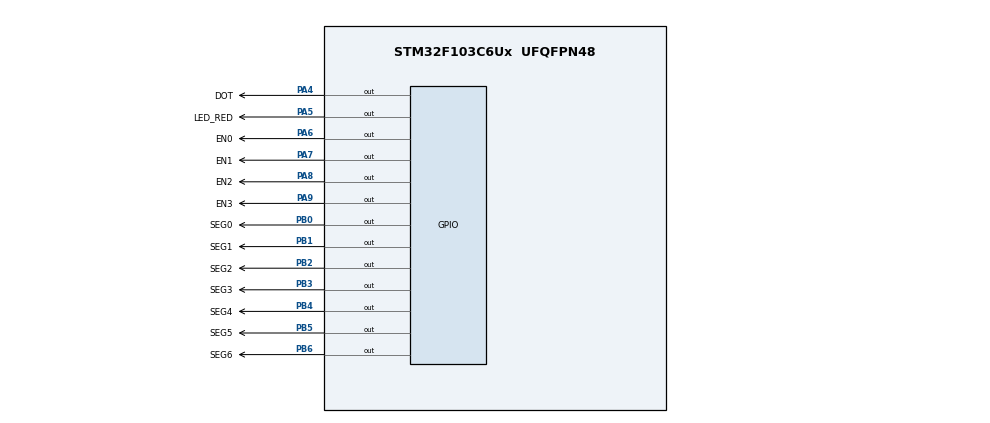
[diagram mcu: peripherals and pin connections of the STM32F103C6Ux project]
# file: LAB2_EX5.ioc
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Mcu.Family=STM32F1
Mcu.Name=STM32F103C6Ux
Mcu.Package=UFQFPN48
NVIC.PriorityGroup=NVIC_PRIORITYGROUP_4
NVIC.TIM2_IRQn=true\:0\:0\:false\:false\:true\:true\:true
PA4.GPIO_Label=DOT
PA4.Signal=GPIO_Output
PA5.GPIO_Label=LED_RED
PA5.Signal=GPIO_Output
PA6.GPIO_Label=EN0
PA6.Signal=GPIO_Output
PA7.GPIO_Label=EN1
PA7.Signal=GPIO_Output
PA8.GPIO_Label=EN2
PA8.Signal=GPIO_Output
PA9.GPIO_Label=EN3
PA9.Signal=GPIO_Output
PB0.GPIO_Label=SEG0
PB0.Signal=GPIO_Output
PB1.GPIO_Label=SEG1
PB1.Signal=GPIO_Output
PB2.GPIO_Label=SEG2
PB2.Signal=GPIO_Output
PB3.GPIO_Label=SEG3
PB3.Signal=GPIO_Output
PB4.GPIO_Label=SEG4
PB4.Signal=GPIO_Output
PB5.GPIO_Label=SEG5
PB5.Signal=GPIO_Output
PB6.GPIO_Label=SEG6
PB6.Signal=GPIO_Output
ProjectManager.HeapSize=0x200
ProjectManager.StackSize=0x400
ProjectManager.TargetToolchain=STM32CubeIDE
RCC.APB1Freq_Value=8000000
RCC.APB2Freq_Value=8000000
TIM2.Period=9
TIM2.Prescaler=7999
VP_SYS_VS_ND.Mode=No_Debug
VP_TIM2_VS_ClockSourceINT.Mode=Internal
board=custom

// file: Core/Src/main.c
/* USER CODE BEGIN Header */
/**
  ******************************************************************************
  * @file           : main.c
  * @brief          : Main program body
  ******************************************************************************
  * @attention
  *
  * <h2><center>&copy; Copyright (c) 2024 STMicroelectronics.
  * All rights reserved.</center></h2>
  *
  * This software component is licensed by ST under BSD 3-Clause license,
  * the "License"; You may not use this file except in compliance with the
  * License. You may obtain a copy of the License at:
  *                        opensource.org/licenses/BSD-3-Clause
  *
  ******************************************************************************
  */
/* USER CODE END Header */
#include "main.h"

/* USER CODE BEGIN Includes */
#include "Ex5.h"
/* USER CODE END Includes */

TIM_HandleTypeDef htim2;

void SystemClock_Config(void);
static void MX_GPIO_Init(void);
static void MX_TIM2_Init(void);

int main(void)
{

  /* MCU Configuration--------------------------------------------------------*/

  /* Reset of all peripherals, Initializes the Flash interface and the Systick. */
  HAL_Init();

  /* Configure the system clock */
  SystemClock_Config();

  /* Initialize all configured peripherals */
  MX_GPIO_Init();
  MX_TIM2_Init();
  /* USER CODE BEGIN 2 */
  HAL_TIM_Base_Start_IT (& htim2 );
  /* USER CODE END 2 */

  /* Infinite loop */
  /* USER CODE BEGIN WHILE */
  int hour = 15, minute = 8, second = 50;
  while (1)
  {
//	  HAL_GPIO_TogglePin(LED_RED_GPIO_Port, LED_RED_Pin);
    /* USER CODE END WHILE */

    /* USER CODE BEGIN 3 */
	  second++;
	  	  if (second >= 60) {
	  		  second = 0;
	  		  minute++;
	  	  }
	  	  if( minute >= 60) {
	  		  minute = 0;
	  		  hour++;
	  	  }
	  	  if( hour >=24){
	  		  hour = 0;
	  	  }
	  	  updateClockBuffer(hour, minute);

	  	  HAL_Delay(1000);
  	}
  /* USER CODE END 3 */
}

void SystemClock_Config(void)
{
  RCC_OscInitTypeDef RCC_OscInitStruct = {0};
  RCC_ClkInitTypeDef RCC_ClkInitStruct = {0};

  /** Initializes the RCC Oscillators according to the specified parameters
  * in the RCC_OscInitTypeDef structure.
  */
  RCC_OscInitStruct.OscillatorType = RCC_OSCILLATORTYPE_HSI;
  RCC_OscInitStruct.HSIState = RCC_HSI_ON;
  RCC_OscInitStruct.HSICalibrationValue = RCC_HSICALIBRATION_DEFAULT;
  RCC_OscInitStruct.PLL.PLLState = RCC_PLL_NONE;
  if (HAL_RCC_OscConfig(&RCC_OscInitStruct) != HAL_OK)
  {
    Error_Handler();
  }
  /** Initializes the CPU, AHB and APB buses clocks
  */
  RCC_ClkInitStruct.ClockType = RCC_CLOCKTYPE_HCLK|RCC_CLOCKTYPE_SYSCLK
                              |RCC_CLOCKTYPE_PCLK1|RCC_CLOCKTYPE_PCLK2;
  RCC_ClkInitStruct.SYSCLKSource = RCC_SYSCLKSOURCE_HSI;
  RCC_ClkInitStruct.AHBCLKDivider = RCC_SYSCLK_DIV1;
  RCC_ClkInitStruct.APB1CLKDivider = RCC_HCLK_DIV1;
  RCC_ClkInitStruct.APB2CLKDivider = RCC_HCLK_DIV1;

  if (HAL_RCC_ClockConfig(&RCC_ClkInitStruct, FLASH_LATENCY_0) != HAL_OK)
  {
    Error_Handler();
  }
}

static void MX_TIM2_Init(void)
{

  TIM_ClockConfigTypeDef sClockSourceConfig = {0};
  TIM_MasterConfigTypeDef sMasterConfig = {0};

  htim2.Instance = TIM2;
  htim2.Init.Prescaler = 7999;
  htim2.Init.CounterMode = TIM_COUNTERMODE_UP;
  htim2.Init.Period = 9;
  htim2.Init.ClockDivision = TIM_CLOCKDIVISION_DIV1;
  htim2.Init.AutoReloadPreload = TIM_AUTORELOAD_PRELOAD_DISABLE;
  if (HAL_TIM_Base_Init(&htim2) != HAL_OK)
  {
    Error_Handler();
  }
  sClockSourceConfig.ClockSource = TIM_CLOCKSOURCE_INTERNAL;
  if (HAL_TIM_ConfigClockSource(&htim2, &sClockSourceConfig) != HAL_OK)
  {
    Error_Handler();
  }
  sMasterConfig.MasterOutputTrigger = TIM_TRGO_RESET;
  sMasterConfig.MasterSlaveMode = TIM_MASTERSLAVEMODE_DISABLE;
  if (HAL_TIMEx_MasterConfigSynchronization(&htim2, &sMasterConfig) != HAL_OK)
  {
    Error_Handler();
  }

}

static void MX_GPIO_Init(void)
{
  GPIO_InitTypeDef GPIO_InitStruct = {0};

  /* GPIO Ports Clock Enable */
  __HAL_RCC_GPIOA_CLK_ENABLE();
  __HAL_RCC_GPIOB_CLK_ENABLE();

  /*Configure GPIO pin Output Level */
  HAL_GPIO_WritePin(GPIOA, DOT_Pin|LED_RED_Pin|EN0_Pin|EN1_Pin
                          |EN2_Pin|EN3_Pin, GPIO_PIN_RESET);

  /*Configure GPIO pin Output Level */
  HAL_GPIO_WritePin(GPIOB, SEG0_Pin|SEG1_Pin|SEG2_Pin|SEG3_Pin
                          |SEG4_Pin|SEG5_Pin|SEG6_Pin, GPIO_PIN_RESET);

  /*Configure GPIO pins : DOT_Pin LED_RED_Pin EN0_Pin EN1_Pin
                           EN2_Pin EN3_Pin */
  GPIO_InitStruct.Pin = DOT_Pin|LED_RED_Pin|EN0_Pin|EN1_Pin
                          |EN2_Pin|EN3_Pin;
  GPIO_InitStruct.Mode = GPIO_MODE_OUTPUT_PP;
  GPIO_InitStruct.Pull = GPIO_NOPULL;
  GPIO_InitStruct.Speed = GPIO_SPEED_FREQ_LOW;
  HAL_GPIO_Init(GPIOA, &GPIO_InitStruct);

  /*Configure GPIO pins : SEG0_Pin SEG1_Pin SEG2_Pin SEG3_Pin
                           SEG4_Pin SEG5_Pin SEG6_Pin */
  GPIO_InitStruct.Pin = SEG0_Pin|SEG1_Pin|SEG2_Pin|SEG3_Pin
                          |SEG4_Pin|SEG5_Pin|SEG6_Pin;
  GPIO_InitStruct.Mode = GPIO_MODE_OUTPUT_PP;
  GPIO_InitStruct.Pull = GPIO_NOPULL;
  GPIO_InitStruct.Speed = GPIO_SPEED_FREQ_LOW;
  HAL_GPIO_Init(GPIOB, &GPIO_InitStruct);

}

/* USER CODE BEGIN 4 */
const unsigned int SCALE = 100; // Switch time * Number of LED / timer (in ms)
int counter = SCALE;
int index_led = 0;
const int MAX_LED = 4;
int counter_led = 100;
// Ham nay giong nhu while loop nhung 10ms chay 1 lan (dgl Timer)
void HAL_TIM_PeriodElapsedCallback ( TIM_HandleTypeDef * htim )
{
	counter_led--;
	if (counter_led <= 0){
		counter_led = 100;
		HAL_GPIO_TogglePin(LED_RED_GPIO_Port, LED_RED_Pin);
		HAL_GPIO_TogglePin(DOT_GPIO_Port, DOT_Pin);
	}

	// Production
	if (counter == SCALE) {
		update7SEG(index_led++);
	} else if(counter == (SCALE*3/4)) {
		update7SEG(index_led++);
	} else if (counter == (SCALE*2/4)) {
		update7SEG(index_led++);
	} else if (counter == (SCALE*1/4)) {
		update7SEG(index_led++);
	}

	if (!(index_led < MAX_LED)) index_led = 0;

	counter = (counter > 0) ? counter-1 : SCALE;
}
/* USER CODE END 4 */

void Error_Handler(void)
{
  __disable_irq();
  while (1)
  {
  }
}

/************************ (C) COPYRIGHT STMicroelectronics *****END OF FILE****/
